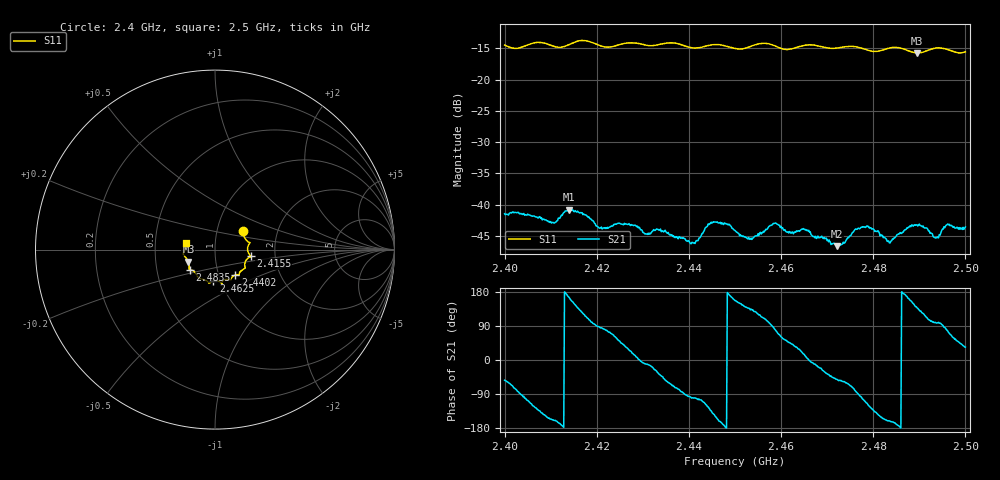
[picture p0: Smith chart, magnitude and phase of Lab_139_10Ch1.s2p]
# Hz S RI R 50
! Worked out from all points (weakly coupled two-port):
!   601 points, 2.4 GHz to 2.5 GHz, reference 50 ohm
!   highest |S21| = -40.79 dB at 2.414 GHz (marker M1); lowest = -46.6 dB at 2.4722 GHz (marker M2)
!   lowest |S11| = -15.7 dB at 2.4895 GHz (marker M3), VSWR 1.39, Z = 36.8 - j5.14 ohm
!   |S11| at or under -10 dB: start of sweep to end of sweep
!   S12 and S22 are empty: the file has one direction only
!   S11 on the Smith chart (normalised r, x): 2.4 GHz: 1.33, +0.29; 2.4155 GHz: 1.49, -0.11; 2.4402 GHz: 1.20, -0.35; 2.4625 GHz: 0.92, -0.34; 2.4835 GHz: 0.74, -0.17; 2.5 GHz: 0.72, +0.05
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2.4e9  0.1565 0.1057  0.00506 -0.00678  0 0  0 0
2.410667e9  0.1837 0.018  -0.00667 -0.00252  0 0  0 0
2.414e9  0.1891 -0.0239  -0.00882 0.00235  0 0  0 0
2.4155e9  0.198 -0.0357  -0.00703 0.00528  0 0  0 0
2.416667e9  0.2016 -0.0402  -0.00518 0.00688  0 0  0 0
2.420833e9  0.1787 -0.0525  0.000592 0.00648  0 0  0 0
2.433333e9  0.1355 -0.1333  0.00521 -0.0036  0 0  0 0
2.440167e9  0.1142 -0.1404  -0.000591 -0.00494  0 0  0 0
2.445333e9  0.0856 -0.1699  -0.00581 -0.00442  0 0  0 0
2.45e9  0.064 -0.1656  -0.00571 0.00243  0 0  0 0
2.453333e9  0.0391 -0.1796  -0.00357 0.00391  0 0  0 0
2.458667e9  0.0319 -0.1834  0.00116 0.00701  0 0  0 0
2.4625e9  -0.00971 -0.1769  0.00452 0.00401  0 0  0 0
2.466667e9  -0.0333 -0.1866  0.00565 -0.000628  0 0  0 0
2.472167e9  -0.0697 -0.1647  0.00292 -0.00363  0 0  0 0
2.478167e9  -0.1002 -0.1436  -0.00204 -0.00627  0 0  0 0
2.483333e9  -0.1385 -0.112  -0.00483 -0.00172  0 0  0 0
2.4835e9  -0.1394 -0.1116  -0.00466 -0.00165  0 0  0 0
2.4895e9  -0.1483 -0.068  -0.0051 0.00463  0 0  0 0
2.493667e9  -0.1771 -0.0269  -0.000714 0.00541  0 0  0 0
2.496167e9  -0.1733 -0.0145  0.00164 0.0068  0 0  0 0
2.5e9  -0.1627 0.0359  0.00549 0.0037  0 0  0 0
